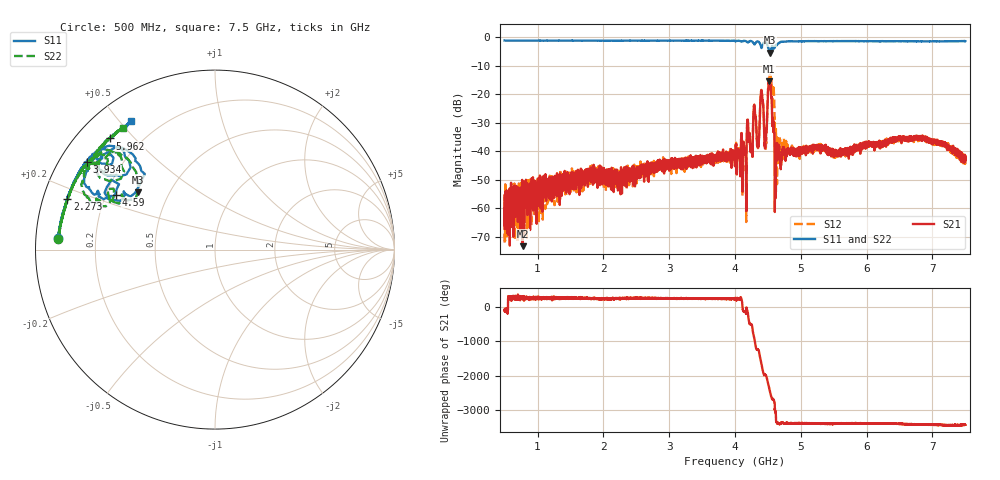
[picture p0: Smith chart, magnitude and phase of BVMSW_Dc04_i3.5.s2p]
!Keysight Technologies,M9374A,MY55442783,A.12.55.05
!Date: Thursday, May 20, 2021 18:10:54
!Correction: S11(Full 2 Port(1,2))
!S21(Full 2 Port(1,2))
!S12(Full 2 Port(1,2))
!S22(Full 2 Port(1,2))
!S2P File: Measurements: S11, S21, S12, S22:
# Hz S  RI  R 50
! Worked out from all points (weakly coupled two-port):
!   7001 points, 500 MHz to 7.5 GHz, reference 50 ohm
!   highest |S21| = -15.39 dB at 4.52 GHz (marker M1); lowest = -73.2 dB at 775 MHz (marker M2)
!   lowest |S11| = -5.4 dB at 4.531 GHz (marker M3), VSWR 3.32, Z = 16.6 + j14.9 ohm
!   |S11| at or under -10 dB: nowhere
!   |S22| runs from -5.6 to -1.1 dB; largest |S21 - S12| = 0.17
!   S11 on the Smith chart (normalised r, x): 500 MHz: 0.07, +0.04; 2.273 GHz: 0.07, +0.17; 3.934 GHz: 0.08, +0.31; 4.59 GHz: 0.24, +0.25; 5.962 GHz: 0.10, +0.43; 7.5 GHz: 0.10, +0.54
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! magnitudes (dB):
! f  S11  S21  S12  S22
! 500 MHz  -1.1  -55.6  -71.9  -1.2
! 536 MHz  -1.2  -57.8  -58.1  -1.2
! 775 MHz  -1.2  -73.2  -51.4  -1.2
! 1.667 GHz  -1.2  -49.1  -50.0  -1.2
! 2.273 GHz  -1.2  -49.7  -50.1  -1.2
! 2.834 GHz  -1.2  -44.4  -44.0  -1.2
! 3.934 GHz  -1.3  -40.2  -40.5  -1.3
! 4 GHz  -1.3  -43.6  -44.0  -1.4
! 4.143 GHz  -1.3  -39.9  -39.1  -1.3
! 4.304 GHz  -2.2  -26.8  -26.6  -2.2
! 4.346 GHz  -1.4  -37.1  -38.0  -1.5
! 4.406 GHz  -3.6  -19.2  -19.0  -3.6
! 4.464 GHz  -1.9  -35.7  -38.3  -2.0
! 4.52 GHz  -4.8  -15.4  -14.3  -4.7
! 4.531 GHz  -5.4  -16.7  -13.4  -5.5
! 4.59 GHz  -4.0  -29.5  -19.2  -4.1
! 4.635 GHz  -2.8  -37.6  -45.8  -2.8
! 4.668 GHz  -2.1  -39.4  -42.1  -2.0
! 5.167 GHz  -1.4  -39.6  -38.3  -1.4
! 5.962 GHz  -1.4  -37.7  -38.3  -1.4
! 6.334 GHz  -1.4  -36.0  -36.3  -1.4
! 7.5 GHz  -1.4  -42.8  -41.8  -1.4
